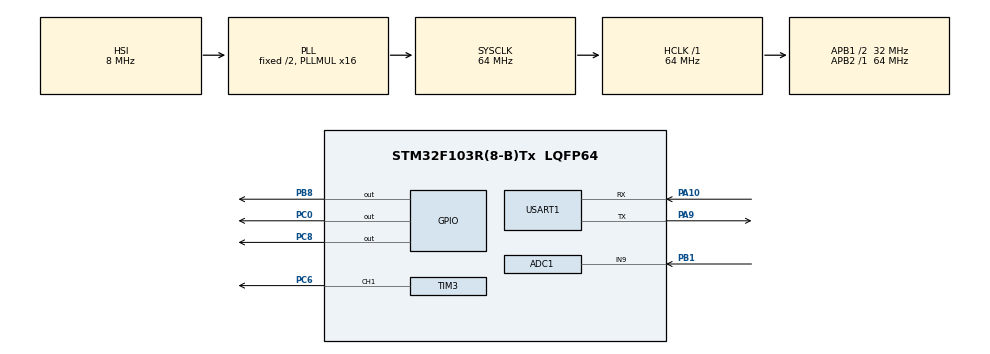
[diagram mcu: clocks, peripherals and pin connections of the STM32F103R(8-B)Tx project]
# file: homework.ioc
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ADC1.Channel-0\#ChannelRegularConversion=ADC_CHANNEL_9
ADC1.ContinuousConvMode=DISABLE
ADC1.NbrOfConversionFlag=1
ADC1.Rank-0\#ChannelRegularConversion=1
ADC1.SamplingTime-0\#ChannelRegularConversion=ADC_SAMPLETIME_1CYCLE_5
ADC1.master=1
Mcu.Family=STM32F1
Mcu.Name=STM32F103R(8-B)Tx
Mcu.Package=LQFP64
NVIC.PriorityGroup=NVIC_PRIORITYGROUP_4
NVIC.TIM2_IRQn=true\:0\:0\:false\:false\:true\:true\:true\:true
PA10.Mode=Asynchronous
PA10.Signal=USART1_RX
PA13.Mode=Serial_Wire
PA13.Signal=SYS_JTMS-SWDIO
PA14.Mode=Serial_Wire
PA14.Signal=SYS_JTCK-SWCLK
PA9.Mode=Asynchronous
PA9.Signal=USART1_TX
PB1.Signal=ADCx_IN9
PB8.Signal=GPIO_Output
PC0.Signal=GPIO_Output
PC6.Signal=S_TIM3_CH1
PC8.Signal=GPIO_Output
ProjectManager.HeapSize=0x200
ProjectManager.StackSize=0x400
ProjectManager.TargetToolchain=MDK-ARM V5.32
RCC.ADCPresc=RCC_ADCPCLK2_DIV8
RCC.AHBFreq_Value=64000000
RCC.APB1CLKDivider=RCC_HCLK_DIV2
RCC.APB1Freq_Value=32000000
RCC.APB1TimFreq_Value=64000000
RCC.APB2Freq_Value=64000000
RCC.APB2TimFreq_Value=64000000
RCC.HCLKFreq_Value=64000000
RCC.PLLMUL=RCC_PLL_MUL16
RCC.SYSCLKFreq_VALUE=64000000
RCC.SYSCLKSource=RCC_SYSCLKSOURCE_PLLCLK
RCC.USBFreq_Value=64000000
SH.ADCx_IN9.0=ADC1_IN9,IN9
SH.S_TIM3_CH1.0=TIM3_CH1,PWM Generation1 CH1
TIM2.AutoReloadPreload=TIM_AUTORELOAD_PRELOAD_DISABLE
TIM2.Period=9999
TIM2.Prescaler=6399
TIM3.Channel-PWM\ Generation1\ CH1=TIM_CHANNEL_1
TIM3.Period=999
TIM3.Prescaler=63
USART1.VirtualMode=VM_ASYNC
VP_TIM2_VS_ClockSourceINT.Mode=Internal
board=custom

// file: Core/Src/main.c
/* USER CODE BEGIN Header */
/**
  ******************************************************************************
  * @file           : main.c
  * @brief          : Main program body
  ******************************************************************************
  * @attention
  *
  * Copyright (c) 2022 STMicroelectronics.
  * All rights reserved.
  *
  * This software is licensed under terms that can be found in the LICENSE file
  * in the root directory of this software component.
  * If no LICENSE file comes with this software, it is provided AS-IS.
  *
  ******************************************************************************
  */
/* USER CODE END Header */
#include "main.h"
#include "adc.h"
#include "tim.h"
#include "usart.h"
#include "gpio.h"

/* USER CODE BEGIN Includes */
#include "stdio.h"
/* USER CODE END Includes */

/* USER CODE BEGIN PV */
float vol;
uint8_t B_S=1;//beep开启
/* USER CODE END PV */

void SystemClock_Config(void);

int main(void)
{

  /* MCU Configuration--------------------------------------------------------*/

  /* Reset of all peripherals, Initializes the Flash interface and the Systick. */
  HAL_Init();

  /* Configure the system clock */
  SystemClock_Config();

  /* Initialize all configured peripherals */
  MX_GPIO_Init();
  MX_USART1_UART_Init();
  MX_ADC1_Init();
  MX_TIM3_Init();
  MX_TIM2_Init();
  /* USER CODE BEGIN 2 */
	HAL_TIM_Base_Start_IT(&htim2);
	__HAL_TIM_ENABLE_IT(&htim2,TIM_IT_UPDATE);  //使能更新中断
	HAL_TIM_PWM_Start(&htim3,TIM_CHANNEL_1);
  HAL_GPIO_WritePin(GPIOB, GPIO_PIN_8, GPIO_PIN_SET);//警示蜂鸣器
	HAL_GPIO_WritePin(GPIOC, GPIO_PIN_0, GPIO_PIN_SET);//警示LED
	HAL_GPIO_WritePin(GPIOC, GPIO_PIN_8, GPIO_PIN_SET);//按键
  /* USER CODE END 2 */

  /* Infinite loop */
  /* USER CODE BEGIN WHILE */
  while (1)
  {
		uint16_t val;
		val=Get_adc();
		__HAL_TIM_SetCompare(&htim3,TIM_CHANNEL_1,(uint32_t)((float)val/4096*999));
		vol=(float)val*3.3/4096;
		printf("当前电压为：%.2f V\r\n",vol);
		/*按键业务*/
		if(HAL_GPIO_ReadPin(GPIOC,GPIO_PIN_8)==0)
			{
				while(HAL_GPIO_ReadPin(GPIOC,GPIO_PIN_8)==0);
				HAL_Delay(5);
				HAL_GPIO_WritePin(GPIOB, GPIO_PIN_8, GPIO_PIN_SET);//关闭蜂鸣器
				B_S=0;
			}
    /* USER CODE END WHILE */

  }
}

void SystemClock_Config(void)
{
  RCC_OscInitTypeDef RCC_OscInitStruct = {0};
  RCC_ClkInitTypeDef RCC_ClkInitStruct = {0};
  RCC_PeriphCLKInitTypeDef PeriphClkInit = {0};

  /** Initializes the RCC Oscillators according to the specified parameters
  * in the RCC_OscInitTypeDef structure.
  */
  RCC_OscInitStruct.OscillatorType = RCC_OSCILLATORTYPE_HSI;
  RCC_OscInitStruct.HSIState = RCC_HSI_ON;
  RCC_OscInitStruct.HSICalibrationValue = RCC_HSICALIBRATION_DEFAULT;
  RCC_OscInitStruct.PLL.PLLState = RCC_PLL_ON;
  RCC_OscInitStruct.PLL.PLLSource = RCC_PLLSOURCE_HSI_DIV2;
  RCC_OscInitStruct.PLL.PLLMUL = RCC_PLL_MUL16;
  if (HAL_RCC_OscConfig(&RCC_OscInitStruct) != HAL_OK)
  {
    Error_Handler();
  }

  /** Initializes the CPU, AHB and APB buses clocks
  */
  RCC_ClkInitStruct.ClockType = RCC_CLOCKTYPE_HCLK|RCC_CLOCKTYPE_SYSCLK
                              |RCC_CLOCKTYPE_PCLK1|RCC_CLOCKTYPE_PCLK2;
  RCC_ClkInitStruct.SYSCLKSource = RCC_SYSCLKSOURCE_PLLCLK;
  RCC_ClkInitStruct.AHBCLKDivider = RCC_SYSCLK_DIV1;
  RCC_ClkInitStruct.APB1CLKDivider = RCC_HCLK_DIV2;
  RCC_ClkInitStruct.APB2CLKDivider = RCC_HCLK_DIV1;

  if (HAL_RCC_ClockConfig(&RCC_ClkInitStruct, FLASH_LATENCY_2) != HAL_OK)
  {
    Error_Handler();
  }
  PeriphClkInit.PeriphClockSelection = RCC_PERIPHCLK_ADC;
  PeriphClkInit.AdcClockSelection = RCC_ADCPCLK2_DIV8;
  if (HAL_RCCEx_PeriphCLKConfig(&PeriphClkInit) != HAL_OK)
  {
    Error_Handler();
  }
}

void Error_Handler(void)
{
  __disable_irq();
  while (1)
  {
  }
}
